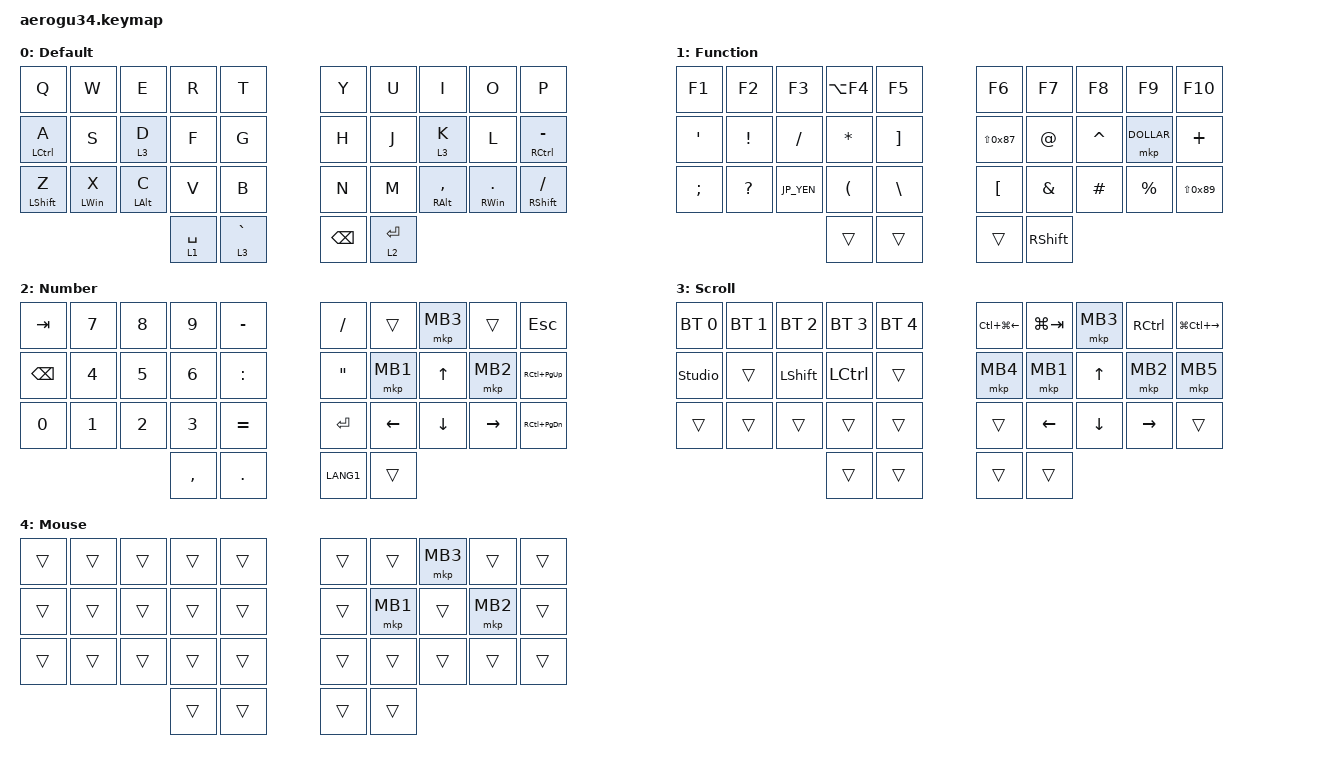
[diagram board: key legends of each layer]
#define ZMK_POINTING_DEFAULT_SCRL_VAL 200

#include <dt-bindings/zmk/mouse.h>
#include <behaviors.dtsi>
#include <dt-bindings/zmk/bt.h>
#include <dt-bindings/zmk/keys.h>
#include <dt-bindings/zmk/pointing.h>

// OS設定を日本語キーボードのまま使用するための変換定義

#define JP_DQUOTE       AT                // "
#define JP_AMPERSAND    CARET             // &
#define JP_QUOTE        AMPERSAND         // '
#define JP_EQUAL        UNDER             // =
#define JP_CARET        EQUAL             // ^
#define JP_YEN          0x89              // ¥
#define JP_PLUS         COLON             // +
#define JP_TILDE        PLUS              // ~
#define JP_PIPE         LS(0x89)          // |
#define JP_AT           LEFT_BRACKET      // @
#define JP_COLON        SINGLE_QUOTE      // :
#define JP_ASTERISK     DOUBLE_QUOTES     // *
#define JP_BACKQUOTE    LEFT_BRACE        // `
#define JP_UNDERSCORE   LS(0x87)          // _
#define JP_LBRACKET     RIGHT_BRACKET     // [
#define JP_RBRACKET     BACKSLASH         // ]
#define JP_LPAREN       ASTERISK          // (
#define JP_RPAREN       LEFT_PARENTHESIS  // )
#define JP_LBRACE       RIGHT_BRACE       // {
#define JP_RBRACE       PIPE              // }
#define JP_KANA         LANGUAGE_1        // かな
#define JP_EISU         LANGUAGE_2        // 英数
#define JP_HANZEN       GRAVE             // 半角/全角

/***********************
+------+------+------+------+------+                    +------+------+------+------+------+
|   0  |   1  |   2  |   3  |   4  |                    |   5  |   6  |   7  |   8  |   9  |
+------+------+------+------+------+                    +------+------+------+------+------+
|  10  |  11  |  12  |  13  |  14  |                    |  15  |  16  |  17  |  18  |  19  |
+------+------+------+------+------+                    +------+------+------+------+------+
|  20  |  21  |  22  |  23  |  24  |                    |  25  |  26  |  27  |  28  |  29  |
+------+------+------+------+------+                    +------+------+------+------+------+
                         +------+------+             +------+------+
                         |  30  |  31  |             |  32  |  33  |
                         +------+------+             +------+------+
***********************/

&mt {
    tapping-term-ms = <300>;
    flavor = "balanced";
};

&lt { quick-tap-ms = <300>; };

/ {
    combos {
        compatible = "zmk,combos";

        esc {
            bindings = <&kp ESCAPE>;
            key-positions = <10 11>;
            layers = <0>;
        };

        tab {
            bindings = <&kp TAB>;
            key-positions = <11 12>;
            layers = <0>;
        };

        stab {
            bindings = <&kp LS(TAB)>;
            key-positions = <12 13>;
        };

        lclick {
            bindings = <&mkp MB1>;
            key-positions = <16 17>;
        };

        rclick {
            bindings = <&mkp MB2>;
            key-positions = <17 18>;
        };

        btreset {
            bindings = <&bt BT_CLR>;
            key-positions = <0 4>;
            layers = <3>;
        };

        boot {
            bindings = <&bootloader>;
            key-positions = <1 2 3>;
            layers = <3>;
        };

        lwin {
            bindings = <&kp LEFT_WIN>;
            key-positions = <20 21>;
        };

        lalt {
            bindings = <&kp LEFT_ALT>;
            key-positions = <20 22>;
        };

        rwin {
            bindings = <&kp RIGHT_WIN>;
            key-positions = <29 28>;
        };

        ralt {
            bindings = <&kp RIGHT_ALT>;
            key-positions = <29 27>;
        };
    };

    keymap {
        compatible = "zmk,keymap";

        default_layer {
            display-name = "Default"; // Layer 0
/***********************
Layer 0:Default 1:Function 2:Number 3:Scroll 4:Mouse
+------+------+------+------+------+                    +------+------+------+------+------+
|      |      |      |      |      |                    |      |      |      |      |      |
+------+------+------+------+------+                    +------+------+------+------+------+
| ctrl |      |  L3  |      |      |                    |      |      |  L3  |      | ctrl |
+------+------+------+------+------+                    +------+------+------+------+------+
| shft |  win |  alt |      |      |                    |      |      |  alt |  win | shft |
+------+------+------+------+------+                    +------+------+------+------+------+
                         +------+------+             +------+------+
                         |  L1  |  L3  |             |      |  L2  |
                         +------+------+             +------+------+
***********************/
            bindings = <
&kp Q             &kp W  &kp E    &kp R  &kp T                                      &kp Y        &kp U  &kp I      &kp O    &kp P
&mt LCTRL A             &kp S  &lt 3 D  &kp F  &kp G                                      &kp H        &kp J  &lt 3 K    &kp L    &mt RCTRL MINUS
&mt LEFT_SHIFT Z  &mt LEFT_WIN X  &mt LEFT_ALT C    &kp V  &kp B                                      &kp N        &kp M  &mt RIGHT_ALT COMMA  &mt RIGHT_WIN DOT  &mt RIGHT_SHIFT SLASH
                                          &lt 1 SPACE  &lt 3 GRAVE    &kp BACKSPACE  &lt 2 ENTER
            >;
        };

        function_layer {
            display-name = "Function"; // Layer 1
/***********************
+------+------+------+------+------+                    +------+------+------+------+------+
|  F1  |  F2  |  F3  |  F4  |  F5  |                    |  F6  |  F7  |  F8  |  F9  | F10  |
+------+------+------+------+------+                    +------+------+------+------+------+
|   :  |   !  |   /  |   (  |   [  |                    |   _  |   "  |   &  |   $  |   ~  |
+------+------+------+------+------+                    +------+------+------+------+------+
|   ;  |   ?  |   \  |   )  |   ]  |                    |   @  |   '  |   #  |   %  |   |  |
+------+------+------+------+------+                    +------+------+------+------+------+
                         +------+------+             +------+------+
                         |      |      |             |      | shft |
                         +------+------+             +------+------+
***********************/
            bindings = <
&kp F1         &kp F2           &kp F3      &kp LA(F4)         &kp F5                               &kp F6             &kp F7    &kp F8    &kp F9     &kp F10
&kp JP_COLON   &kp EXCLAMATION  &kp SLASH   &kp JP_LPAREN  &kp JP_LBRACKET                      &kp JP_UNDERSCORE  &kp JP_DQUOTE  &kp JP_AMPERSAND    &mkp DOLLAR   &kp JP_TILDE
&kp SEMICOLON  &kp QUESTION     &kp JP_YEN  &kp JP_RPAREN  &kp JP_RBRACKET                      &kp JP_AT          &kp JP_QUOTE  &kp HASH  &kp PERCENT  &kp JP_PIPE
                                                            &trans           &trans    &trans     &kp RIGHT_SHIFT
            >;
        };

        number_layer {
            display-name = "Number"; // Layer 2
/***********************
+------+------+------+------+------+                    +------+------+------+------+------+
| tab  |   7  |   8  |   9  |   -  |                    |   /  |      |  M3  |      | esc  |
+------+------+------+------+------+                    +------+------+------+------+------+
|  bs  |   4  |   5  |   6  |   +  |                    |   *  |  M1  |   ↑  |  M2  | C+PU |
+------+------+------+------+------+                    +------+------+------+------+------+
|   0  |   1  |   2  |   3  |   =  |                    |  ent |   ←  |   ↓  |   →  | C+PD |
+------+------+------+------+------+                    +------+------+------+------+------+
                         +------+------+             +------+------+
                         |   ,  |   .  |             |lang1 |      |
                         +------+------+             +------+------+
***********************/
            bindings = <
&kp TAB               &kp N7        &kp N8        &kp N9        &kp MINUS                          &kp SLASH  &trans    &mkp MB3  &trans     &kp ESC
&kp BACKSPACE       &kp NUMBER_4  &kp N5        &kp NUMBER_6  &kp JP_PLUS                        &kp JP_ASTERISK           &mkp MB1  &kp UP    &mkp MB2   &kp RC(PG_UP)
&kp NUMBER_0  &kp NUMBER_1  &kp NUMBER_2  &kp NUMBER_3  &kp EQUAL                          &kp ENTER    &kp LEFT  &kp DOWN  &kp RIGHT  &kp RC(PG_DN)
                                                                 &kp COMMA    &kp DOT    &kp LANG1  &trans
            >;
        };

        scroll_layer {
            display-name = "Scroll"; // Layer 3
/***********************
+------+------+------+------+------+                    +------+------+------+------+------+
| bt0  |  bt1 |  bt2 |  bt3 |  bt4 |                    | CG←  | GTab |  M3  | ctrl | CG→  |
+------+------+------+------+------+                    +------+------+------+------+------+
| unlk |      | shft | ctrl |      |                    |  M4  |  M1  |   ↑  |  M2  |  M5  |
+------+------+------+------+------+                    +------+------+------+------+------+
|      |      |      |      |      |                    |      |   ←  |   ↓  |   →  |      |
+------+------+------+------+------+                    +------+------+------+------+------+
                         +------+------+             +------+------+
                         |      |      |             |      |      |
                         +------+------+             +------+------+
***********************/
            bindings = <
&bt BT_SEL 0  &bt BT_SEL 1  &bt BT_SEL 2  &bt BT_SEL 3  &bt BT_SEL 4                    &kp LC(LG(LEFT))  &kp LG(TAB)  &mkp MB3  &kp RCTRL     &kp LG(LC(RIGHT))
&studio_unlock        &trans        &kp LEFT_SHIFT        &kp LCTRL        &trans                          &mkp MB4          &mkp MB1     &kp UP    &mkp MB2   &mkp MB5
&trans        &trans        &trans        &trans        &trans                          &trans            &kp LEFT     &kp DOWN  &kp RIGHT  &trans
                                                        &trans        &trans    &trans  &trans
            >;
        };

        mouse_layer {
            display-name = "Mouse"; // Layer 4
/***********************
+------+------+------+------+------+                    +------+------+------+------+------+
|      |      |      |      |      |                    |      |      |  M3  |      |      |
+------+------+------+------+------+                    +------+------+------+------+------+
|      |      |      |      |      |                    |      |  M1  |      |  M2  |      |
+------+------+------+------+------+                    +------+------+------+------+------+
|      |      |      |      |      |                    |      |      |      |      |      |
+------+------+------+------+------+                    +------+------+------+------+------+
                         +------+------+             +------+------+
                         |      |      |             |      |      |
                         +------+------+             +------+------+
***********************/
            bindings = <
&trans  &trans  &trans  &trans  &trans                    &trans  &trans    &mkp MB3  &trans    &trans
&trans  &trans  &trans  &trans  &trans                    &trans  &mkp MB1  &trans    &mkp MB2  &trans
&trans  &trans  &trans  &trans  &trans                    &trans  &trans    &trans    &trans    &trans
                                &trans  &trans    &trans  &trans
            >;
        };
    };
};
